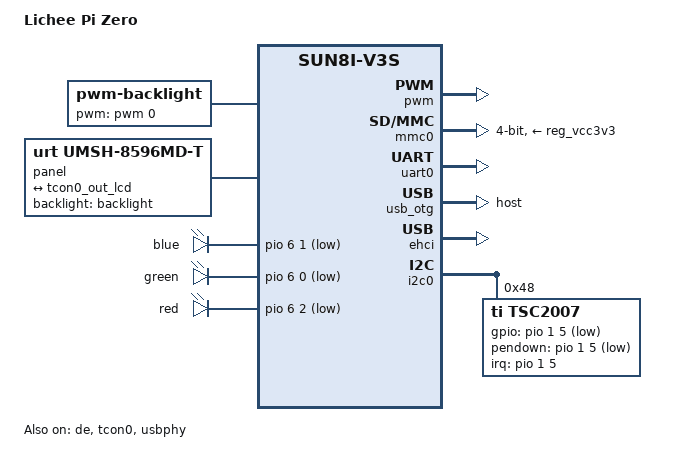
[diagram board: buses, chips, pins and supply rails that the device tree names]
/*
 * Copyright (C) 2016 Icenowy Zheng <icenowy@aosc.xyz>
 *
 * This file is dual-licensed: you can use it either under the terms
 * of the GPL or the X11 license, at your option. Note that this dual
 * licensing only applies to this file, and not this project as a
 * whole.
 *
 *  a) This file is free software; you can redistribute it and/or
 *     modify it under the terms of the GNU General Public License as
 *     published by the Free Software Foundation; either version 2 of the
 *     License, or (at your option) any later version.
 *
 *     This file is distributed in the hope that it will be useful,
 *     but WITHOUT ANY WARRANTY; without even the implied warranty of
 *     MERCHANTABILITY or FITNESS FOR A PARTICULAR PURPOSE.  See the
 *     GNU General Public License for more details.
 *
 * Or, alternatively,
 *
 *  b) Permission is hereby granted, free of charge, to any person
 *     obtaining a copy of this software and associated documentation
 *     files (the "Software"), to deal in the Software without
 *     restriction, including without limitation the rights to use,
 *     copy, modify, merge, publish, distribute, sublicense, and/or
 *     sell copies of the Software, and to permit persons to whom the
 *     Software is furnished to do so, subject to the following
 *     conditions:
 *
 *     The above copyright notice and this permission notice shall be
 *     included in all copies or substantial portions of the Software.
 *
 *     THE SOFTWARE IS PROVIDED "AS IS", WITHOUT WARRANTY OF ANY KIND,
 *     EXPRESS OR IMPLIED, INCLUDING BUT NOT LIMITED TO THE WARRANTIES
 *     OF MERCHANTABILITY, FITNESS FOR A PARTICULAR PURPOSE AND
 *     NONINFRINGEMENT. IN NO EVENT SHALL THE AUTHORS OR COPYRIGHT
 *     HOLDERS BE LIABLE FOR ANY CLAIM, DAMAGES OR OTHER LIABILITY,
 *     WHETHER IN AN ACTION OF CONTRACT, TORT OR OTHERWISE, ARISING
 *     FROM, OUT OF OR IN CONNECTION WITH THE SOFTWARE OR THE USE OR
 *     OTHER DEALINGS IN THE SOFTWARE.
 */

/dts-v1/;
#include "sun8i-v3s.dtsi"
#include "allwinner/sunxi-common-regulators.dtsi"

/ {
	model = "Lichee Pi Zero";
	compatible = "licheepi,licheepi-zero", "allwinner,sun8i-v3s";

	aliases {
		serial0 = &uart0;
	};

	chosen {
		stdout-path = "serial0:115200n8";
	};

	backlight: backlight {
		compatible = "pwm-backlight";
		pwms = <&pwm 0 1000000 0>;
		brightness-levels = <0 30 40 50 60 70 100>;
		default-brightness-level = <6>;
	};

	panel: panel {
		compatible = "urt,umsh-8596md-t", "simple-panel", "panel-dpi";
		#address-cells = <1>;
		#size-cells = <0>;

		backlight = <&backlight>;

		panel-timing {
			timing0: timing0 {
				clock-frequency = <33000000>;
				hactive = <800>;
				vactive = <480>;

				hfront-porch = <209>;
				hsync-len = <30>;
				hback-porch = <16>;

				vback-porch = <22>;
				vsync-len = <1>;
				vfront-porch = <22>;

				hsync-active = <0>;
				vsync-active = <0>;
				de-active = <1>;
				pixelclk-active = <0>;

			};
		};

		port@0 {
			reg = <0>;
			#address-cells = <1>;
			#size-cells = <0>;

			panel_input: endpoint@0 {
				reg = <0>;
				remote-endpoint = <&tcon0_out_lcd>;
			};
		};
	};

	leds {
		compatible = "gpio-leds";

		blue_led {
			label = "blue";
			gpios = <&pio 6 1 GPIO_ACTIVE_LOW>; /* PG1 */
		};

		green_led {
			label = "green";
			gpios = <&pio 6 0 GPIO_ACTIVE_LOW>; /* PG0 */
			//default-state = "on";
		};

		red_led {
			label = "red";
			gpios = <&pio 6 2 GPIO_ACTIVE_LOW>; /* PG2 */
			linux,default-trigger = "activity";
		};
	};
};

&de {
	status = "okay";
};

&pwm {
	pinctrl-names = "default";
	pinctrl-0 = <&pwm0_pin>;
	status = "okay";
};

&tcon0 {
	pinctrl-names = "default";
	pinctrl-0 = <&lcd_rgb666_pe_pins>;
	status = "okay";
};

&tcon0_out {
	tcon0_out_lcd: endpoint@0 {
		reg = <0>;
		remote-endpoint = <&panel_input>;
	};
};

&mmc0 {
	broken-cd;
	bus-width = <4>;
	vmmc-supply = <&reg_vcc3v3>;
	status = "okay";
};

&uart0 {
	pinctrl-0 = <&uart0_pb_pins>;
	pinctrl-names = "default";
	status = "okay";
};

&usb_otg {
	dr_mode = "host";
	status = "okay";
};

&usbphy {
	usb0_id_det-gpios = <&pio 5 6 GPIO_ACTIVE_HIGH>;
	status = "okay";
};

&ehci {
	status = "okay";
};

// &ohci {
// 	status = "okay";
// };

&i2c0 {
	pinctrl-0 = <&i2c0_pins>;
	pinctrl-names = "default";
	status = "okay";

	tsc2007: tsc2007@48 {
		compatible = "ti,tsc2007";
		reg = <0x48>;
		interrupt-parent = <&pio>;
		interrupts = <1 5 IRQ_TYPE_EDGE_FALLING>;
		gpios = <&pio 1 5 GPIO_ACTIVE_LOW>;
		pendown-gpio = <&pio 1 5 GPIO_ACTIVE_LOW>;
		ti,x-plate-ohms = <180>;
		wakeup-source;
		status = "okay";
	};
};

// OV5640
// &csi1 {
// 	pinctrl-names = "default";
// 	pinctrl-0 = <&csi1_8bit_pins>;
// 	status = "okay";
// 
// 	port {
// 		#address-cells = <1>;
// 		#size-cells = <0>;
// 
// 		csi1_ep: endpoint {
// 			remote-endpoint = <&ov5640_ep>;
// 			bus-width = <8>;
// 			hsync-active = <1>;		// Active high
// 			vsync-active = <0>;		// Active low
// 			data-active = <1>;		// Active high
// 			pclk-sample = <1>;		// Rising
// 		};
// 	};
// };
// 
// &i2c1 {
// 	pinctrl-names = "default";
// 	pinctrl-0 = <&i2c1_pe_pins>;
// 	status = "okay";
// 
// 	ov5640: camera@3c {
// 		compatible = "ovti,ov5640";
// 		reg = <0x3c>;
// 		pinctrl-names = "default";
// 		pinctrl-0 = <&csi1_mclk_pin>;
// 		clocks = <&ccu CLK_CSI1_MCLK>;
// 		clock-names = "xclk";
// 
// 		AVDD-supply = <&reg_vcc2v8>;
// 		DOVDD-supply = <&reg_vcc2v8>;
// 		DVDD-supply = <&reg_vcc1v8>;
// 		//reset-gpios = <&pio 4 23 GPIO_ACTIVE_LOW>;			// PE23
// 		//powerdown-gpios = <&pio 4 24 GPIO_ACTIVE_HIGH>;		// PE24
// 
// 		port {
// 			ov5640_ep: endpoint {
// 				remote-endpoint = <&csi1_ep>;
// 				bus-width = <8>;
// 				hsync-active = <1>;		// Active high
// 				vsync-active = <0>;		// Active low
// 				data-active = <1>;		// Active high
// 				pclk-sample = <1>;		// Rising
// 			};
// 		};
// 	};
// };

